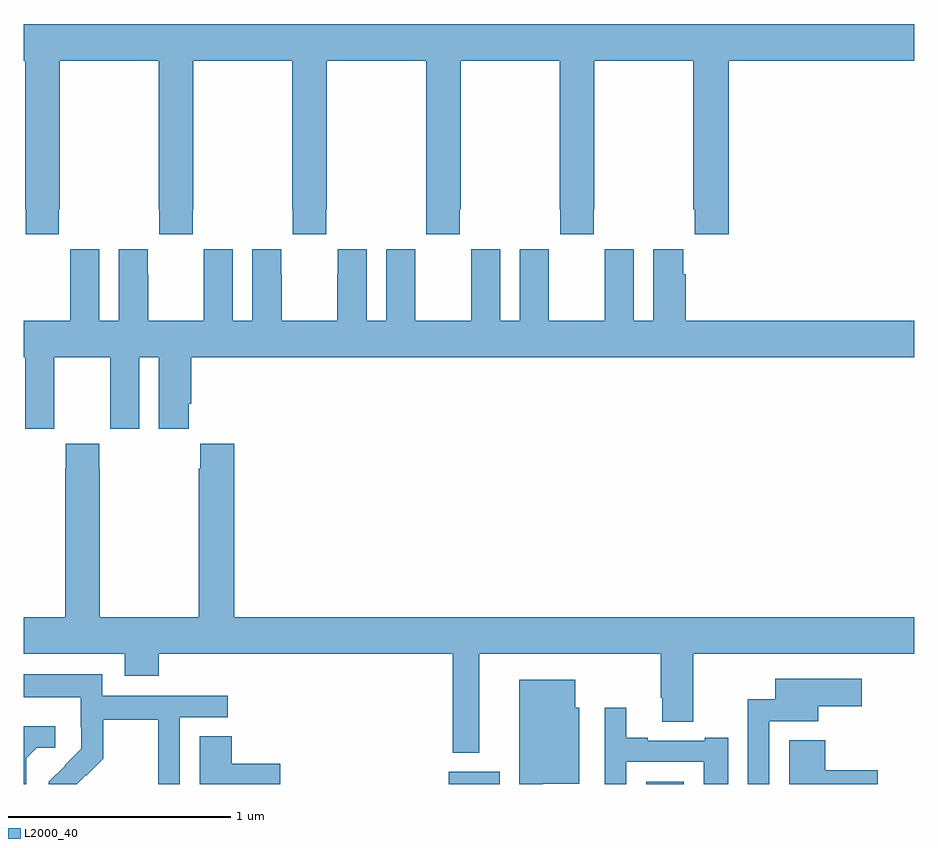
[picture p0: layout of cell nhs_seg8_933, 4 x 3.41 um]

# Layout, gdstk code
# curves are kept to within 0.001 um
import gdstk
lib = gdstk.Library(unit=1e-6, precision=1e-09)
def R(c, l, rs):  # rectangles x0, y0, x1, y1
    for r in rs: c.add(gdstk.rectangle(r[:2], r[2:], *l))
def P(c, l, *ps):  # polygons
    for p in ps: c.add(gdstk.Polygon(p, *l))
L2000_40 = (2000, 40)

nhs_seg8_933 = lib.new_cell('nhs_seg8_933')
R(nhs_seg8_933, L2000_40, [(172.91,1131.9,173.137,1131.955), (173.795,1131.9,173.965,1131.91)])
P(nhs_seg8_933, L2000_40, [(171.159,1134.481),(171.162,1134.481),(171.162,1135.148),(171.607,1135.148),(171.607,1134.481),(171.609,1134.481),(171.609,1134.369),(171.759,1134.369),(171.759,1134.481),(171.762,1134.481),(171.762,1135.148),(172.207,1135.148),(172.207,1134.481),(172.209,1134.481),(172.209,1134.369),(172.359,1134.369),(172.359,1134.481),(172.362,1134.481),(172.362,1135.148),(172.807,1135.148),(172.807,1134.481),(172.809,1134.481),(172.809,1134.369),(172.959,1134.369),(172.959,1134.481),(172.962,1134.481),(172.962,1135.148),(173.407,1135.148),(173.407,1134.481),(173.409,1134.481),(173.409,1134.369),(173.559,1134.369),(173.559,1134.481),(173.562,1134.481),(173.562,1135.148),(174.007,1135.148),(174.007,1134.481),(174.013,1134.481),(174.013,1134.369),(174.167,1134.369),(174.167,1135.148),(175,1135.148),(175,1135.312),(171,1135.312),(171,1135.148),(171.007,1135.148),(171.007,1134.481),(171.009,1134.481),(171.009,1134.369),(171.159,1134.369)],
  [(171.34,1134.301),(171.21,1134.301),(171.21,1134.188),(171.209,1134.188),(171.209,1133.98),(171,1133.98),(171,1133.816),(171.008,1133.816),(171.008,1133.496),(171.138,1133.496),(171.138,1133.608),(171.139,1133.608),(171.139,1133.816),(171.389,1133.816),(171.389,1133.608),(171.39,1133.608),(171.39,1133.496),(171.52,1133.496),(171.52,1133.816),(171.608,1133.816),(171.608,1133.496),(171.742,1133.496),(171.742,1133.608),(171.752,1133.608),(171.752,1133.816),(175,1133.816),(175,1133.98),(173.972,1133.98),(173.972,1134.188),(173.962,1134.188),(173.962,1134.301),(173.828,1134.301),(173.828,1133.98),(173.74,1133.98),(173.74,1134.301),(173.61,1134.301),(173.61,1134.188),(173.609,1134.188),(173.609,1133.98),(173.359,1133.98),(173.359,1134.188),(173.358,1134.188),(173.358,1134.301),(173.228,1134.301),(173.228,1133.98),(173.14,1133.98),(173.14,1134.301),(173.01,1134.301),(173.01,1134.188),(173.009,1134.188),(173.009,1133.98),(172.759,1133.98),(172.759,1134.188),(172.758,1134.188),(172.758,1134.301),(172.628,1134.301),(172.628,1133.98),(172.54,1133.98),(172.54,1134.301),(172.41,1134.301),(172.41,1134.188),(172.409,1134.188),(172.409,1133.98),(172.159,1133.98),(172.159,1134.188),(172.158,1134.188),(172.158,1134.301),(172.028,1134.301),(172.028,1133.98),(171.94,1133.98),(171.94,1134.301),(171.81,1134.301),(171.81,1134.188),(171.809,1134.188),(171.809,1133.98),(171.559,1133.98),(171.559,1134.188),(171.558,1134.188),(171.558,1134.301),(171.428,1134.301),(171.428,1133.98),(171.34,1133.98)],
  [(173.047,1132.484),(173.86,1132.484),(173.86,1132.288),(173.867,1132.288),(173.867,1132.18),(174.007,1132.18),(174.007,1132.484),(175,1132.484),(175,1132.648),(171.947,1132.648),(171.947,1133.428),(171.793,1133.428),(171.793,1133.315),(171.787,1133.315),(171.787,1132.648),(171.342,1132.648),(171.342,1133.315),(171.339,1133.315),(171.339,1133.428),(171.189,1133.428),(171.189,1133.315),(171.187,1133.315),(171.187,1132.648),(171,1132.648),(171,1132.484),(171.455,1132.484),(171.455,1132.385),(171.608,1132.385),(171.608,1132.484),(172.926,1132.484),(172.926,1132.04),(173.047,1132.04)],
  [(171.279,1131.939),(171.282,1131.936),(171.359,1132.013),(171.359,1132.188),(171.604,1132.188),(171.604,1131.964),(171.606,1131.964),(171.606,1131.9),(171.702,1131.9),(171.702,1132.2),(171.916,1132.2),(171.916,1132.296),(171.354,1132.296),(171.354,1132.393),(171,1132.393),(171,1132.289),(171.258,1132.289),(171.258,1132.155),(171.26,1132.155),(171.26,1132.058),(171.114,1131.91),(171.114,1131.9),(171.24,1131.9)],
  [(174.348,1132.182),(174.568,1132.182),(174.568,1132.25),(174.763,1132.25),(174.763,1132.372),(174.374,1132.372),(174.374,1132.28),(174.252,1132.28),(174.252,1131.9),(174.348,1131.9)],
  [(173.332,1131.902),(173.494,1131.902),(173.494,1132.242),(173.476,1132.242),(173.476,1132.369),(173.225,1132.369),(173.225,1131.9),(173.332,1131.9)],
  [(173.706,1131.999),(174.053,1131.999),(174.053,1131.9),(174.163,1131.9),(174.163,1132.108),(174.059,1132.108),(174.059,1132.095),(173.803,1132.095),(173.803,1132.108),(173.707,1132.108),(173.707,1132.243),(173.61,1132.243),(173.61,1131.9),(173.706,1131.9)],
  [(171.013,1132.015),(171.06,1132.062),(171.142,1132.062),(171.142,1132.159),(171,1132.159),(171,1131.9),(171.013,1131.9)],
  [(172.153,1131.992),(171.935,1131.992),(171.935,1132.115),(171.791,1132.115),(171.791,1131.9),(172.153,1131.9)],
  [(174.835,1131.961),(174.599,1131.961),(174.599,1132.096),(174.437,1132.096),(174.437,1131.9),(174.835,1131.9)])

lib.write_gds('nhs_seg8_933.gds')
